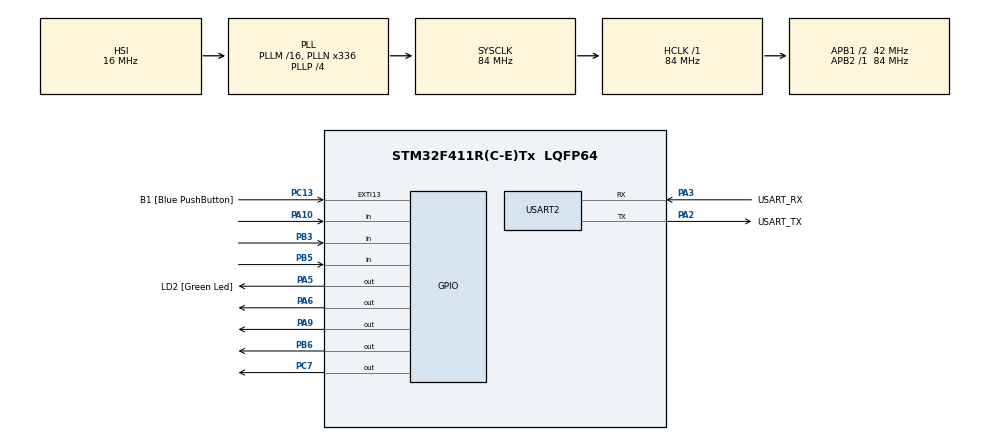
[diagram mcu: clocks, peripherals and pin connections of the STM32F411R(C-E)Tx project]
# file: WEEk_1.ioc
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Mcu.Family=STM32F4
Mcu.Name=STM32F411R(C-E)Tx
Mcu.Package=LQFP64
NVIC.PriorityGroup=NVIC_PRIORITYGROUP_0
PA10.Signal=GPIO_Input
PA13.GPIO_Label=TMS
PA13.Mode=Serial_Wire
PA13.Signal=SYS_JTMS-SWDIO
PA14.GPIO_Label=TCK
PA14.Mode=Serial_Wire
PA14.Signal=SYS_JTCK-SWCLK
PA2.GPIO_Label=USART_TX
PA2.Mode=Asynchronous
PA2.Signal=USART2_TX
PA3.GPIO_Label=USART_RX
PA3.Mode=Asynchronous
PA3.Signal=USART2_RX
PA5.GPIO_Label=LD2 [Green Led]
PA5.Signal=GPIO_Output
PA6.Signal=GPIO_Output
PA9.Signal=GPIO_Output
PB3.Signal=GPIO_Input
PB5.Signal=GPIO_Input
PB6.Signal=GPIO_Output
PC13-ANTI_TAMP.GPIO_Label=B1 [Blue PushButton]
PC13-ANTI_TAMP.GPIO_ModeDefaultEXTI=GPIO_MODE_IT_FALLING
PC13-ANTI_TAMP.Signal=GPXTI13
PC14-OSC32_IN.Mode=LSE-External-Oscillator
PC14-OSC32_IN.Signal=RCC_OSC32_IN
PC15-OSC32_OUT.Mode=LSE-External-Oscillator
PC15-OSC32_OUT.Signal=RCC_OSC32_OUT
PC7.Signal=GPIO_Output
PH0\ -\ OSC_IN.Mode=HSE-External-Clock-Source
PH0\ -\ OSC_IN.Signal=RCC_OSC_IN
PH1\ -\ OSC_OUT.Mode=HSE-External-Clock-Source
PH1\ -\ OSC_OUT.Signal=RCC_OSC_OUT
ProjectManager.HeapSize=0x200
ProjectManager.StackSize=0x400
ProjectManager.TargetToolchain=STM32CubeIDE
RCC.48MHZClocksFreq_Value=84000000
RCC.AHBFreq_Value=84000000
RCC.APB1CLKDivider=RCC_HCLK_DIV2
RCC.APB1Freq_Value=42000000
RCC.APB1TimFreq_Value=84000000
RCC.APB2Freq_Value=84000000
RCC.APB2TimFreq_Value=84000000
RCC.CortexFreq_Value=84000000
RCC.FLatency-AdvancedSettings=FLASH_LATENCY_2
RCC.HCLKFreq_Value=84000000
RCC.HSE_VALUE=8000000
RCC.HSI_VALUE=16000000
RCC.PLLN=336
RCC.PLLP=RCC_PLLP_DIV4
RCC.SYSCLKFreq_VALUE=84000000
RCC.SYSCLKSource=RCC_SYSCLKSOURCE_PLLCLK
RCC.VCOOutputFreq_Value=336000000
USART2.VirtualMode=VM_ASYNC
board=NUCLEO-F411RE

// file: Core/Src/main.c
/* USER CODE BEGIN Header */
/**
 ******************************************************************************
 * @file           : main.c
 * @brief          : Main program body
 ******************************************************************************
 * @attention
 *
 * <h2><center>&copy; Copyright (c) 2021 STMicroelectronics.
 * All rights reserved.</center></h2>
 *
 * This software component is licensed by ST under BSD 3-Clause license,
 * the "License"; You may not use this file except in compliance with the
 * License. You may obtain a copy of the License at:
 *                        opensource.org/licenses/BSD-3-Clause
 *
 ******************************************************************************
 */
/* USER CODE END Header */
#include "main.h"

UART_HandleTypeDef huart2;

void SystemClock_Config(void);
static void MX_GPIO_Init(void);
static void MX_USART2_UART_Init(void);

int main(void)
{

  /* MCU Configuration--------------------------------------------------------*/

  /* Reset of all peripherals, Initializes the Flash interface and the Systick. */
  HAL_Init();

  /* Configure the system clock */
  SystemClock_Config();

  /* Initialize all configured peripherals */
  MX_GPIO_Init();
  MX_USART2_UART_Init();
  /* USER CODE BEGIN 2 */
	GPIO_PinState SwitchState1[2]; //Now,Last
	GPIO_PinState SwitchState2[2];
	GPIO_PinState SwitchState3[2];
	uint16_t LED1_HalfPeriod = 1000; //0.5Hz
	uint32_t TimeStamp = 0;
	uint32_t TimeStamp2 = 0;
	uint32_t LED_ON_time =0;
	uint32_t LED3_ON = 500;
	uint32_t LED3_OFF = 1500;
	uint32_t LED_ON_OFF = 500;
  /* USER CODE END 2 */

  /* Infinite loop */
	while (1) {

    /* USER CODE BEGIN 3 */
		//1
			SwitchState1[0] = HAL_GPIO_ReadPin(GPIOA, GPIO_PIN_10);
			if (SwitchState1[1] == GPIO_PIN_SET
					&& SwitchState1[0] == GPIO_PIN_RESET) {
				if (LED1_HalfPeriod == 1000 && HAL_GetTick()-LED_ON_time >=150) {
					LED1_HalfPeriod = 500;
					LED_ON_time = HAL_GetTick();
				} else if(LED1_HalfPeriod == 500 && HAL_GetTick()-LED_ON_time >=150) {
					LED1_HalfPeriod = 250;
					LED_ON_time = HAL_GetTick();
				} else if(LED1_HalfPeriod == 250 && HAL_GetTick()-LED_ON_time >=150) {
					LED1_HalfPeriod = 167;
					LED_ON_time = HAL_GetTick();
				} else if(LED1_HalfPeriod == 167 && HAL_GetTick()-LED_ON_time >=150) {
					LED1_HalfPeriod = 1000;
					LED_ON_time = HAL_GetTick();
				}
			}
			SwitchState1[1] = SwitchState1[0];

		//2
		SwitchState2[0] = HAL_GPIO_ReadPin(GPIOB, GPIO_PIN_3);
						if (SwitchState2[1] == GPIO_PIN_SET && SwitchState2[0] == GPIO_PIN_RESET && HAL_GetTick()-LED_ON_time >=160) {
						if (HAL_GPIO_ReadPin(GPIOA, GPIO_PIN_6) == GPIO_PIN_SET) {
								HAL_GPIO_WritePin(GPIOA, GPIO_PIN_6, GPIO_PIN_RESET);
								LED_ON_time = HAL_GetTick();
							}
						else if(HAL_GPIO_ReadPin(GPIOA, GPIO_PIN_6) == GPIO_PIN_RESET && HAL_GetTick()-LED_ON_time >=160) {
								HAL_GPIO_WritePin(GPIOA, GPIO_PIN_6, GPIO_PIN_SET);
								LED_ON_time = HAL_GetTick();
							}
							}
					SwitchState2[1] = SwitchState2[0];

		//3
					SwitchState3[0] = HAL_GPIO_ReadPin(GPIOB, GPIO_PIN_5);
					if (SwitchState3[1] == GPIO_PIN_SET && SwitchState3[0] == GPIO_PIN_RESET) {
						if (LED3_ON ==500 && LED3_OFF==1500 && HAL_GetTick()-LED_ON_time >=150) {
							LED3_ON = 1500;
							LED3_OFF = 500;
							LED_ON_time = HAL_GetTick();
						} else if(LED3_ON ==1500 && LED3_OFF==500 && HAL_GetTick()-LED_ON_time >=150) {
							LED3_OFF =1500;
							LED3_ON = 500;
							LED_ON_time = HAL_GetTick();
						}
					}
					SwitchState3[1] = SwitchState3[0];

		if (HAL_GetTick() - TimeStamp >= LED1_HalfPeriod) //ms
				{
			TimeStamp = HAL_GetTick();
			if (HAL_GPIO_ReadPin(GPIOA, GPIO_PIN_9) == GPIO_PIN_SET) {
				HAL_GPIO_WritePin(GPIOA, GPIO_PIN_9, GPIO_PIN_RESET);
			} else {
				HAL_GPIO_WritePin(GPIOA, GPIO_PIN_9, GPIO_PIN_SET);
			}

		}
		if (HAL_GetTick() - TimeStamp2 >= LED_ON_OFF) //ms
						{
			TimeStamp2 = HAL_GetTick();
					if (HAL_GPIO_ReadPin(GPIOB, GPIO_PIN_6) == GPIO_PIN_SET) {
						HAL_GPIO_WritePin(GPIOB, GPIO_PIN_6, GPIO_PIN_RESET);
						LED_ON_OFF=LED3_OFF;
					}else {
						HAL_GPIO_WritePin(GPIOB, GPIO_PIN_6, GPIO_PIN_SET);
						LED_ON_OFF=LED3_ON;
					}

				}
	}
}
  /* USER CODE END 3 */

void SystemClock_Config(void)
{
  RCC_OscInitTypeDef RCC_OscInitStruct = {0};
  RCC_ClkInitTypeDef RCC_ClkInitStruct = {0};

  /** Configure the main internal regulator output voltage
  */
  __HAL_RCC_PWR_CLK_ENABLE();
  __HAL_PWR_VOLTAGESCALING_CONFIG(PWR_REGULATOR_VOLTAGE_SCALE1);
  /** Initializes the RCC Oscillators according to the specified parameters
  * in the RCC_OscInitTypeDef structure.
  */
  RCC_OscInitStruct.OscillatorType = RCC_OSCILLATORTYPE_HSI;
  RCC_OscInitStruct.HSIState = RCC_HSI_ON;
  RCC_OscInitStruct.HSICalibrationValue = RCC_HSICALIBRATION_DEFAULT;
  RCC_OscInitStruct.PLL.PLLState = RCC_PLL_ON;
  RCC_OscInitStruct.PLL.PLLSource = RCC_PLLSOURCE_HSI;
  RCC_OscInitStruct.PLL.PLLM = 16;
  RCC_OscInitStruct.PLL.PLLN = 336;
  RCC_OscInitStruct.PLL.PLLP = RCC_PLLP_DIV4;
  RCC_OscInitStruct.PLL.PLLQ = 4;
  if (HAL_RCC_OscConfig(&RCC_OscInitStruct) != HAL_OK)
  {
    Error_Handler();
  }
  /** Initializes the CPU, AHB and APB buses clocks
  */
  RCC_ClkInitStruct.ClockType = RCC_CLOCKTYPE_HCLK|RCC_CLOCKTYPE_SYSCLK
                              |RCC_CLOCKTYPE_PCLK1|RCC_CLOCKTYPE_PCLK2;
  RCC_ClkInitStruct.SYSCLKSource = RCC_SYSCLKSOURCE_PLLCLK;
  RCC_ClkInitStruct.AHBCLKDivider = RCC_SYSCLK_DIV1;
  RCC_ClkInitStruct.APB1CLKDivider = RCC_HCLK_DIV2;
  RCC_ClkInitStruct.APB2CLKDivider = RCC_HCLK_DIV1;

  if (HAL_RCC_ClockConfig(&RCC_ClkInitStruct, FLASH_LATENCY_2) != HAL_OK)
  {
    Error_Handler();
  }
}

static void MX_USART2_UART_Init(void)
{

  huart2.Instance = USART2;
  huart2.Init.BaudRate = 115200;
  huart2.Init.WordLength = UART_WORDLENGTH_8B;
  huart2.Init.StopBits = UART_STOPBITS_1;
  huart2.Init.Parity = UART_PARITY_NONE;
  huart2.Init.Mode = UART_MODE_TX_RX;
  huart2.Init.HwFlowCtl = UART_HWCONTROL_NONE;
  huart2.Init.OverSampling = UART_OVERSAMPLING_16;
  if (HAL_UART_Init(&huart2) != HAL_OK)
  {
    Error_Handler();
  }

}

static void MX_GPIO_Init(void)
{
  GPIO_InitTypeDef GPIO_InitStruct = {0};

  /* GPIO Ports Clock Enable */
  __HAL_RCC_GPIOC_CLK_ENABLE();
  __HAL_RCC_GPIOH_CLK_ENABLE();
  __HAL_RCC_GPIOA_CLK_ENABLE();
  __HAL_RCC_GPIOB_CLK_ENABLE();

  /*Configure GPIO pin Output Level */
  HAL_GPIO_WritePin(GPIOA, LD2_Pin|GPIO_PIN_6|GPIO_PIN_9, GPIO_PIN_RESET);

  /*Configure GPIO pin Output Level */
  HAL_GPIO_WritePin(GPIOB, GPIO_PIN_6, GPIO_PIN_RESET);

  /*Configure GPIO pin : B1_Pin */
  GPIO_InitStruct.Pin = B1_Pin;
  GPIO_InitStruct.Mode = GPIO_MODE_IT_FALLING;
  GPIO_InitStruct.Pull = GPIO_NOPULL;
  HAL_GPIO_Init(B1_GPIO_Port, &GPIO_InitStruct);

  /*Configure GPIO pins : LD2_Pin PA6 PA9 */
  GPIO_InitStruct.Pin = LD2_Pin|GPIO_PIN_6|GPIO_PIN_9;
  GPIO_InitStruct.Mode = GPIO_MODE_OUTPUT_PP;
  GPIO_InitStruct.Pull = GPIO_NOPULL;
  GPIO_InitStruct.Speed = GPIO_SPEED_FREQ_LOW;
  HAL_GPIO_Init(GPIOA, &GPIO_InitStruct);

  /*Configure GPIO pin : PA10 */
  GPIO_InitStruct.Pin = GPIO_PIN_10;
  GPIO_InitStruct.Mode = GPIO_MODE_INPUT;
  GPIO_InitStruct.Pull = GPIO_NOPULL;
  HAL_GPIO_Init(GPIOA, &GPIO_InitStruct);

  /*Configure GPIO pins : PB3 PB5 */
  GPIO_InitStruct.Pin = GPIO_PIN_3|GPIO_PIN_5;
  GPIO_InitStruct.Mode = GPIO_MODE_INPUT;
  GPIO_InitStruct.Pull = GPIO_NOPULL;
  HAL_GPIO_Init(GPIOB, &GPIO_InitStruct);

  /*Configure GPIO pin : PB6 */
  GPIO_InitStruct.Pin = GPIO_PIN_6;
  GPIO_InitStruct.Mode = GPIO_MODE_OUTPUT_PP;
  GPIO_InitStruct.Pull = GPIO_NOPULL;
  GPIO_InitStruct.Speed = GPIO_SPEED_FREQ_LOW;
  HAL_GPIO_Init(GPIOB, &GPIO_InitStruct);

}

void Error_Handler(void)
{
	__disable_irq();
	while (1) {
	}
}

/************************ (C) COPYRIGHT STMicroelectronics *****END OF FILE****/
